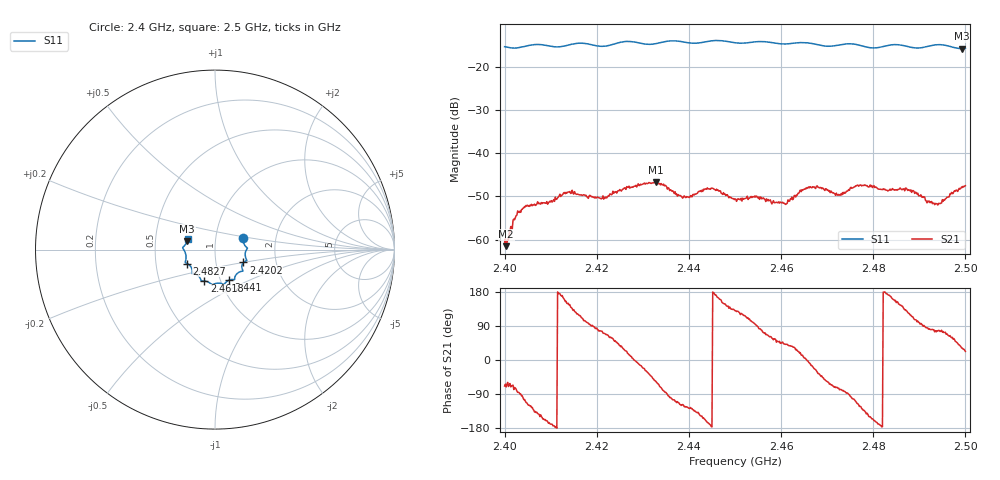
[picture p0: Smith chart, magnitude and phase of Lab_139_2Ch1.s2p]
# Hz S RI R 50
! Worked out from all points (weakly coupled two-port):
!   601 points, 2.4 GHz to 2.5 GHz, reference 50 ohm
!   highest |S21| = -46.67 dB at 2.4328 GHz (marker M1); lowest = -61.5 dB at 2.4003 GHz (marker M2)
!   lowest |S11| = -15.8 dB at 2.4992 GHz (marker M3), VSWR 1.39, Z = 36.5 + j3.65 ohm
!   |S11| at or under -10 dB: start of sweep to end of sweep
!   S12 and S22 are empty: the file has one direction only
!   S11 on the Smith chart (normalised r, x): 2.4 GHz: 1.36, +0.18; 2.4202 GHz: 1.36, -0.20; 2.441 GHz: 1.10, -0.39; 2.4618 GHz: 0.84, -0.30; 2.4827 GHz: 0.72, -0.12; 2.5 GHz: 0.73, +0.09
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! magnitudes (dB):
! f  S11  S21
! 2.4 GHz  -15.4  -60.6
! 2.4003 GHz  -15.4  -61.5
! 2.4023 GHz  -15.7  -54.9
! 2.4045 GHz  -15.3  -52.4
! 2.4133 GHz  -15.1  -49.1
! 2.4167 GHz  -14.5  -49.6
! 2.4202 GHz  -15.2  -50.1
! 2.4328 GHz  -14.6  -46.7
! 2.4333 GHz  -14.5  -47.1
! 2.441 GHz  -14.6  -49.5
! 2.4448 GHz  -14.0  -48.1
! 2.45 GHz  -14.4  -50.6
! 2.4618 GHz  -14.7  -51.1
! 2.4667 GHz  -14.6  -48.0
! 2.4723 GHz  -15.0  -49.7
! 2.4768 GHz  -15.0  -47.6
! 2.4827 GHz  -15.2  -48.5
! 2.4833 GHz  -15.0  -48.6
! 2.4875 GHz  -15.3  -48.6
! 2.4938 GHz  -14.9  -51.7
! 2.4992 GHz  -15.8  -47.8
! 2.5 GHz  -15.7  -47.5
